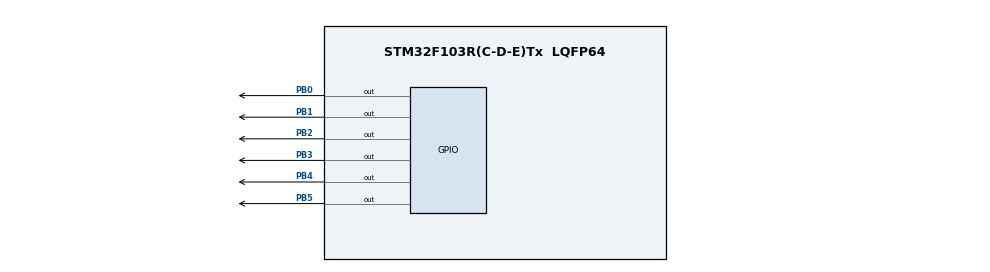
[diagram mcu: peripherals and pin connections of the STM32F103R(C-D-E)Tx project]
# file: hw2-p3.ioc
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Mcu.Family=STM32F1
Mcu.Name=STM32F103R(C-D-E)Tx
Mcu.Package=LQFP64
NVIC.PriorityGroup=NVIC_PRIORITYGROUP_4
PA13.Mode=Serial_Wire
PA13.Signal=SYS_JTMS-SWDIO
PA14.Mode=Serial_Wire
PA14.Signal=SYS_JTCK-SWCLK
PB0.Signal=GPIO_Output
PB1.Signal=GPIO_Output
PB2.Signal=GPIO_Output
PB3.Signal=GPIO_Output
PB4.Signal=GPIO_Output
PB5.Signal=GPIO_Output
PD0-OSC_IN.Mode=HSE-External-Oscillator
PD0-OSC_IN.Signal=RCC_OSC_IN
PD1-OSC_OUT.Mode=HSE-External-Oscillator
PD1-OSC_OUT.Signal=RCC_OSC_OUT
ProjectManager.HeapSize=0x200
ProjectManager.StackSize=0x400
ProjectManager.TargetToolchain=MDK-ARM V5.32
RCC.APB1Freq_Value=8000000
RCC.APB2Freq_Value=8000000
board=custom

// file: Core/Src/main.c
/* USER CODE BEGIN Header */
/**
  ******************************************************************************
  * @file           : main.c
  * @brief          : Main program body
  ******************************************************************************
  * @attention
  *
  * Copyright (c) 2026 STMicroelectronics.
  * All rights reserved.
  *
  * This software is licensed under terms that can be found in the LICENSE file
  * in the root directory of this software component.
  * If no LICENSE file comes with this software, it is provided AS-IS.
  *
  ******************************************************************************
  */
/* USER CODE END Header */
#include "main.h"

/* USER CODE BEGIN Includes */
#include "lcd.h"
#include <string.h>
/* USER CODE END Includes */

/* USER CODE BEGIN PD */
#define RS_PIN GPIO_PIN_0
#define RS_PORT GPIOB

#define ENB_PIN GPIO_PIN_1
#define ENB_PORT GPIOB

#define LCD_PORTS {GPIOB,GPIOB,GPIOB,GPIOB}
#define LCD_PINS {GPIO_PIN_2,GPIO_PIN_3,GPIO_PIN_4,GPIO_PIN_5}
/* USER CODE END PD */

void SystemClock_Config(void);
static void MX_GPIO_Init(void);

int main(void)
{

  /* MCU Configuration--------------------------------------------------------*/

  /* Reset of all peripherals, Initializes the Flash interface and the Systick. */
  HAL_Init();

  /* Configure the system clock */
  SystemClock_Config();

  /* Initialize all configured peripherals */
  MX_GPIO_Init();
  /* USER CODE BEGIN 2 */
	Lcd_PortType Ports[] = LCD_PORTS;
	Lcd_PinType Pins[]= LCD_PINS;

	Lcd_HandleTypeDef lcd;
	lcd = Lcd_create(Ports, Pins, RS_PORT, RS_PIN, ENB_PORT, ENB_PIN, LCD_4_BIT_MODE);
  uint16_t count = 0;
	uint8_t col=0;
	char str[5]; // "2000" + '\0'
  /* USER CODE END 2 */

  /* Infinite loop */
  while (1)
  {

    /* USER CODE BEGIN 3 */
		snprintf(str, sizeof(str), "%4d", count);   // "  0", "  1", ..., "2000"
	  int col = (16 - 4) / 2;                     // always same column

		Lcd_cursor(&lcd,0,col);
	  Lcd_string(&lcd, str);
		count++;
		if (count > 2001) {
				count = 0;
		}
		HAL_Delay(20);
  }
  /* USER CODE END 3 */
}

void SystemClock_Config(void)
{
  RCC_OscInitTypeDef RCC_OscInitStruct = {0};
  RCC_ClkInitTypeDef RCC_ClkInitStruct = {0};

  /** Initializes the RCC Oscillators according to the specified parameters
  * in the RCC_OscInitTypeDef structure.
  */
  RCC_OscInitStruct.OscillatorType = RCC_OSCILLATORTYPE_HSI;
  RCC_OscInitStruct.HSIState = RCC_HSI_ON;
  RCC_OscInitStruct.HSICalibrationValue = RCC_HSICALIBRATION_DEFAULT;
  RCC_OscInitStruct.PLL.PLLState = RCC_PLL_NONE;
  if (HAL_RCC_OscConfig(&RCC_OscInitStruct) != HAL_OK)
  {
    Error_Handler();
  }

  /** Initializes the CPU, AHB and APB buses clocks
  */
  RCC_ClkInitStruct.ClockType = RCC_CLOCKTYPE_HCLK|RCC_CLOCKTYPE_SYSCLK
                              |RCC_CLOCKTYPE_PCLK1|RCC_CLOCKTYPE_PCLK2;
  RCC_ClkInitStruct.SYSCLKSource = RCC_SYSCLKSOURCE_HSI;
  RCC_ClkInitStruct.AHBCLKDivider = RCC_SYSCLK_DIV1;
  RCC_ClkInitStruct.APB1CLKDivider = RCC_HCLK_DIV1;
  RCC_ClkInitStruct.APB2CLKDivider = RCC_HCLK_DIV1;

  if (HAL_RCC_ClockConfig(&RCC_ClkInitStruct, FLASH_LATENCY_0) != HAL_OK)
  {
    Error_Handler();
  }
}

static void MX_GPIO_Init(void)
{
  GPIO_InitTypeDef GPIO_InitStruct = {0};

  /* GPIO Ports Clock Enable */
  __HAL_RCC_GPIOD_CLK_ENABLE();
  __HAL_RCC_GPIOB_CLK_ENABLE();
  __HAL_RCC_GPIOA_CLK_ENABLE();

  /*Configure GPIO pin Output Level */
  HAL_GPIO_WritePin(GPIOB, GPIO_PIN_0|GPIO_PIN_1|GPIO_PIN_2|GPIO_PIN_3
                          |GPIO_PIN_4|GPIO_PIN_5, GPIO_PIN_RESET);

  /*Configure GPIO pins : PB0 PB1 PB2 PB3
                           PB4 PB5 */
  GPIO_InitStruct.Pin = GPIO_PIN_0|GPIO_PIN_1|GPIO_PIN_2|GPIO_PIN_3
                          |GPIO_PIN_4|GPIO_PIN_5;
  GPIO_InitStruct.Mode = GPIO_MODE_OUTPUT_PP;
  GPIO_InitStruct.Pull = GPIO_NOPULL;
  GPIO_InitStruct.Speed = GPIO_SPEED_FREQ_LOW;
  HAL_GPIO_Init(GPIOB, &GPIO_InitStruct);

}

void Error_Handler(void)
{
  __disable_irq();
  while (1)
  {
  }
}
